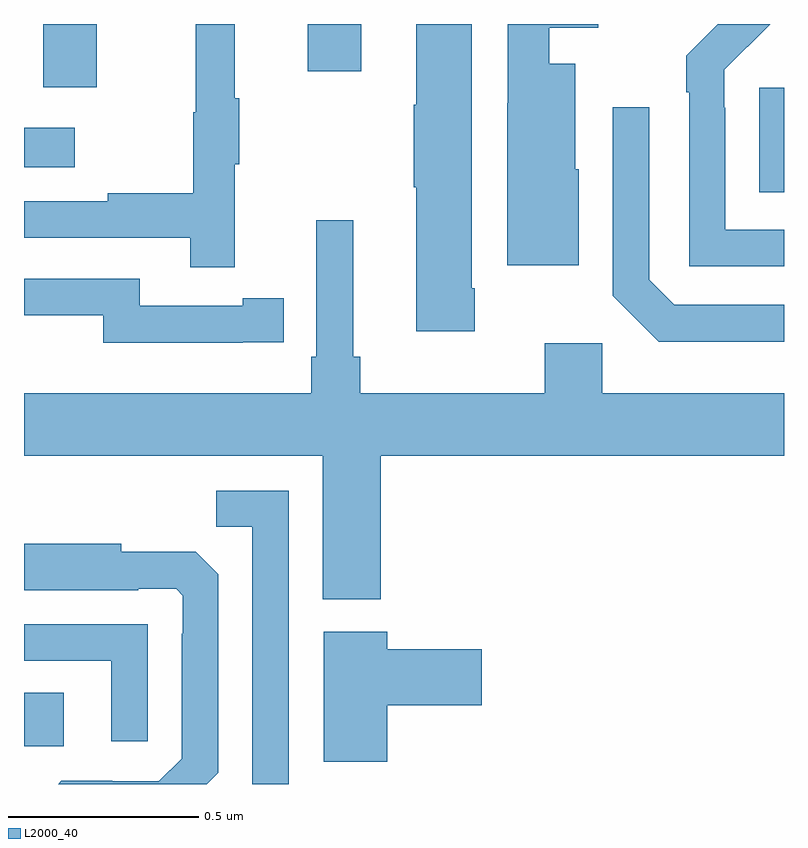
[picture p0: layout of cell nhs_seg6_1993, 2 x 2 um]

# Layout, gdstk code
import gdstk
lib = gdstk.Library(unit=1e-6, precision=1e-09)
def R(c, l, rs):  # rectangles x0, y0, x1, y1
    for r in rs: c.add(gdstk.rectangle(r[:2], r[2:], *l))
def P(c, l, *ps):  # polygons
    for p in ps: c.add(gdstk.Polygon(p, *l))
L2000_40 = (2000, 40)

nhs_seg6_1993 = lib.new_cell('nhs_seg6_1993')
R(nhs_seg6_1993, L2000_40, [(137,918.6,137.104,918.74), (138.935,920.057,139,920.332), (137,920.123,137.134,920.227), (137.051,920.334,137.191,920.5), (137.747,920.376,137.887,920.5)])
P(nhs_seg6_1993, L2000_40, [(137.555,920.131),(137.566,920.131),(137.566,920.305),(137.555,920.305),(137.555,920.5),(137.452,920.5),(137.452,920.268),(137.445,920.268),(137.445,920.054),(137.221,920.054),(137.221,920.034),(137,920.034),(137,919.938),(137.437,919.938),(137.437,919.86),(137.555,919.86)],
  [(138.46,920.118),(138.451,920.118),(138.451,920.395),(138.382,920.395),(138.382,920.49),(138.511,920.49),(138.511,920.5),(138.273,920.5),(138.273,920.291),(138.272,920.291),(138.272,919.865),(138.46,919.865)],
  [(138.186,919.804),(138.178,919.804),(138.178,920.5),(138.032,920.5),(138.032,920.288),(138.025,920.288),(138.025,920.071),(138.032,920.071),(138.032,919.692),(138.186,919.692)],
  [(139,919.959),(138.846,919.959),(138.846,920.279),(138.843,920.279),(138.843,920.379),(138.964,920.5),(138.826,920.5),(138.743,920.416),(138.743,920.321),(138.75,920.321),(138.75,919.863),(139,919.863)],
  [(139,919.761),(138.711,919.761),(138.645,919.827),(138.645,920.281),(138.549,920.281),(138.549,919.785),(138.67,919.664),(139,919.664)],
  [(137.939,919.364),(139,919.364),(139,919.528),(138.522,919.528),(138.522,919.66),(138.371,919.66),(138.371,919.528),(137.885,919.528),(137.885,919.624),(137.866,919.624),(137.866,919.984),(137.769,919.984),(137.769,919.624),(137.756,919.624),(137.756,919.528),(137,919.528),(137,919.364),(137.786,919.364),(137.786,918.986),(137.939,918.986)],
  [(137.576,919.662),(137.684,919.662),(137.684,919.778),(137.576,919.778),(137.576,919.758),(137.304,919.758),(137.304,919.83),(137,919.83),(137,919.734),(137.208,919.734),(137.208,919.661),(137.576,919.661)],
  [(137.697,919.272),(137.506,919.272),(137.506,919.177),(137.601,919.177),(137.601,918.5),(137.697,918.5)],
  [(137.511,918.53),(137.511,919.052),(137.452,919.111),(137.256,919.111),(137.256,919.132),(137,919.132),(137,919.01),(137.3,919.01),(137.3,919.014),(137.4,919.014),(137.418,918.996),(137.418,918.896),(137.415,918.896),(137.415,918.567),(137.355,918.507),(137.232,918.507),(137.232,918.508),(137.098,918.508),(137.09,918.5),(137.481,918.5)],
  [(137.325,918.921),(137,918.921),(137,918.825),(137.229,918.825),(137.229,918.612),(137.325,918.612)],
  [(137.956,918.707),(138.205,918.707),(138.205,918.854),(137.956,918.854),(137.956,918.901),(137.789,918.901),(137.789,918.558),(137.956,918.558)])

lib.write_gds('nhs_seg6_1993.gds')
